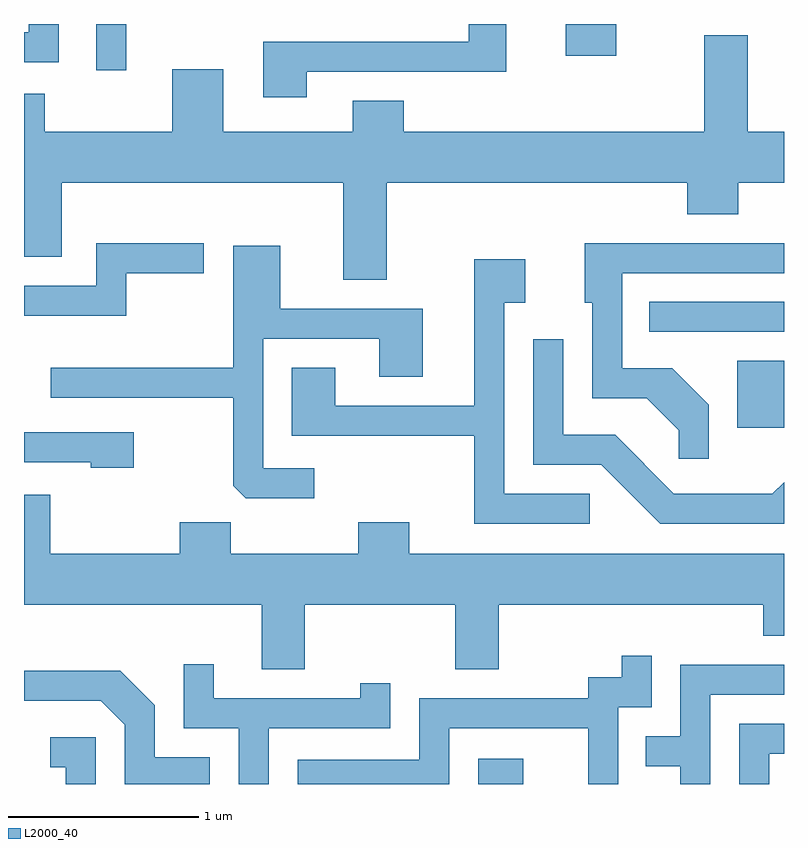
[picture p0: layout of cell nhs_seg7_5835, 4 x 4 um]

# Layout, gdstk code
import gdstk
lib = gdstk.Library(unit=1e-6, precision=1e-09)
def R(c, l, rs):  # rectangles x0, y0, x1, y1
    for r in rs: c.add(gdstk.rectangle(r[:2], r[2:], *l))
def P(c, l, *ps):  # polygons
    for p in ps: c.add(gdstk.Polygon(p, *l))
L2000_40 = (2000, 40)

nhs_seg7_5835 = lib.new_cell('nhs_seg7_5835')
R(nhs_seg7_5835, L2000_40, [(366.001,1722.252,366.238,1722.384), (367.366,1724.126,367.611,1724.479), (366.903,1724.631,367.611,1724.789), (363.991,1726.008,364.149,1726.252), (366.461,1726.086,366.729,1726.252)])
P(nhs_seg7_5835, L2000_40, [(363.794,1726.252),(363.636,1726.252),(363.636,1726.209),(363.611,1726.209),(363.611,1726.051),(363.794,1726.051)],
  [(365.099,1726.001),(366.149,1726.001),(366.149,1726.252),(365.951,1726.252),(365.951,1726.159),(364.871,1726.159),(364.871,1725.866),(365.099,1725.866)],
  [(365.519,1725.416),(367.101,1725.416),(367.101,1725.251),(367.369,1725.251),(367.369,1725.416),(367.611,1725.416),(367.611,1725.684),(367.419,1725.684),(367.419,1726.194),(367.191,1726.194),(367.191,1725.684),(365.609,1725.684),(365.609,1725.849),(365.341,1725.849),(365.341,1725.684),(364.659,1725.684),(364.659,1726.014),(364.391,1726.014),(364.391,1725.684),(363.719,1725.684),(363.719,1725.884),(363.611,1725.884),(363.611,1725.026),(363.809,1725.026),(363.809,1725.416),(365.291,1725.416),(365.291,1724.906),(365.519,1724.906)],
  [(367.214,1724.247),(367.022,1724.439),(366.759,1724.439),(366.759,1724.941),(367.611,1724.941),(367.611,1725.099),(366.561,1725.099),(366.561,1724.786),(366.601,1724.786),(366.601,1724.281),(366.889,1724.281),(367.056,1724.114),(367.056,1723.963),(367.214,1723.963)],
  [(364.149,1724.941),(364.558,1724.941),(364.558,1725.099),(363.991,1725.099),(363.991,1724.874),(363.611,1724.874),(363.611,1724.716),(364.149,1724.716)],
  [(365.138,1723.914),(364.869,1723.914),(364.869,1724.596),(365.481,1724.596),(365.481,1724.396),(365.709,1724.396),(365.709,1724.754),(364.959,1724.754),(364.959,1725.084),(364.711,1725.084),(364.711,1724.444),(363.753,1724.444),(363.753,1724.286),(364.711,1724.286),(364.711,1723.822),(364.777,1723.756),(365.138,1723.756)],
  [(366.588,1723.779),(366.139,1723.779),(366.139,1724.786),(366.249,1724.786),(366.249,1725.014),(365.981,1725.014),(365.981,1724.244),(365.249,1724.244),(365.249,1724.444),(365.021,1724.444),(365.021,1724.086),(365.981,1724.086),(365.981,1723.621),(366.588,1723.621)],
  [(367.611,1723.841),(367.549,1723.779),(367.032,1723.779),(366.722,1724.089),(366.449,1724.089),(366.449,1724.593),(366.291,1724.593),(366.291,1723.931),(366.649,1723.931),(366.959,1723.621),(367.611,1723.621)],
  [(364.189,1724.104),(363.611,1724.104),(363.611,1723.946),(363.961,1723.946),(363.961,1723.916),(364.189,1723.916)],
  [(365.089,1723.196),(365.881,1723.196),(365.881,1722.856),(366.109,1722.856),(366.109,1723.196),(367.501,1723.196),(367.501,1723.031),(367.611,1723.031),(367.611,1723.464),(365.639,1723.464),(365.639,1723.629),(365.371,1723.629),(365.371,1723.464),(364.699,1723.464),(364.699,1723.629),(364.431,1723.629),(364.431,1723.464),(363.749,1723.464),(363.749,1723.774),(363.611,1723.774),(363.611,1723.196),(364.861,1723.196),(364.861,1722.856),(365.089,1722.856)],
  [(365.849,1722.546),(366.581,1722.546),(366.581,1722.252),(366.739,1722.252),(366.739,1722.656),(366.914,1722.656),(366.914,1722.928),(366.756,1722.928),(366.756,1722.814),(366.581,1722.814),(366.581,1722.704),(365.691,1722.704),(365.691,1722.379),(365.051,1722.379),(365.051,1722.252),(365.849,1722.252)],
  [(364.899,1722.546),(365.539,1722.546),(365.539,1722.783),(365.381,1722.783),(365.381,1722.704),(364.609,1722.704),(364.609,1722.883),(364.451,1722.883),(364.451,1722.546),(364.741,1722.546),(364.741,1722.252),(364.899,1722.252)],
  [(367.224,1722.721),(367.611,1722.721),(367.611,1722.879),(367.066,1722.879),(367.066,1722.504),(366.883,1722.504),(366.883,1722.346),(367.066,1722.346),(367.066,1722.252),(367.224,1722.252)],
  [(364.589,1722.394),(364.299,1722.394),(364.299,1722.667),(364.117,1722.849),(363.611,1722.849),(363.611,1722.691),(364.014,1722.691),(364.141,1722.564),(364.141,1722.252),(364.589,1722.252)],
  [(367.534,1722.411),(367.611,1722.411),(367.611,1722.569),(367.376,1722.569),(367.376,1722.252),(367.534,1722.252)],
  [(363.989,1722.499),(363.748,1722.499),(363.748,1722.341),(363.831,1722.341),(363.831,1722.252),(363.989,1722.252)])

lib.write_gds('nhs_seg7_5835.gds')
